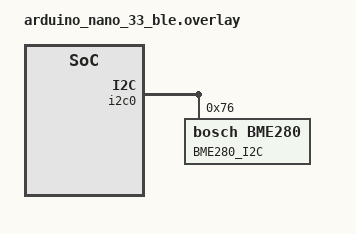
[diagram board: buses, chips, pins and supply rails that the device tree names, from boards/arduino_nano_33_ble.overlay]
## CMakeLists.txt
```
# SPDX-License-Identifier: Apache-2.0

cmake_minimum_required(VERSION 3.13.1)
set(CMAKE_EXPORT_COMPILE_COMMANDS ON)
find_package(Zephyr REQUIRED HINTS $ENV{ZEPHYR_BASE})
project(ble-weatherstation)

set(CMAKE_C_FLAGS "${CMAKE_C_FLAGS} -Wall -Wextra")

target_sources(app PRIVATE src/main.c src/sensor.c src/mesh.c src/attention.c)
```

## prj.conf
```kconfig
CONFIG_BOARD_ARDUINO_NANO_33_BLE_EN_USB_CONSOLE=n
CONFIG_BOARD_ARDUINO_NANO_33_BLE_INIT_SENSORS=n

CONFIG_I2C=y
CONFIG_SENSOR=y
CONFIG_BME280=y

CONFIG_GPIO=y

CONFIG_BT=y
CONFIG_BT_DEVICE_NAME="BLE Weatherstation"
CONFIG_BT_PERIPHERAL=y
CONFIG_BT_BROADCASTER=y
CONFIG_BT_OBSERVER=y

CONFIG_BT_MESH=y
CONFIG_BT_MESH_MODEL_EXTENSIONS=y
CONFIG_BT_MESH_RELAY=y
CONFIG_BT_MESH_PB_GATT=y
CONFIG_BT_MESH_PB_ADV=y
CONFIG_BT_MESH_GATT_PROXY=y

#CONFIG_BT_BUF_EVT_RX_COUNT=3
#CONFIG_BT_BUF_ACL_RX_COUNT=3
#CONFIG_BT_BUF_EVT_DISCARDABLE_COUNT=3
CONFIG_BT_RX_STACK_SIZE=4096
#CONFIG_BT_TX_STACK_SIZE=4096
#CONFIG_BT_CTLR_RX_BUFFERS=6
#CONFIG_BT_BUF_ACL_TX_COUNT=4
#CONFIG_BT_BUF_CMD_TX_COUNT=4
#
#CONFIG_BT_ATT_PREPARE_COUNT=2

CONFIG_BT_TINYCRYPT_ECC=y
CONFIG_BT_RX_STACK_SIZE=4096
CONFIG_BT_CTLR_DUP_FILTER_LEN=0
CONFIG_BT_MESH_LOOPBACK_BUFS=8
CONFIG_BT_MESH_ADV_BUF_COUNT=3
CONFIG_BT_MESH_SEG_BUFS=6
CONFIG_BT_MESH_SUBNET_COUNT=1
CONFIG_BT_MESH_APP_KEY_COUNT=1
CONFIG_BT_MESH_MODEL_GROUP_COUNT=1
CONFIG_BT_MESH_LABEL_COUNT=0

CONFIG_HWINFO=y

CONFIG_BT_DEBUG_LOG=y
CONFIG_UART_CONSOLE=y
CONFIG_UART_INTERRUPT_DRIVEN=y

CONFIG_LOG2_MODE_IMMEDIATE=y

CONFIG_MAIN_STACK_SIZE=4096
CONFIG_SYSTEM_WORKQUEUE_STACK_SIZE=1200
#
#CONFIG_BT_CTLR_DUP_FILTER_LEN=0
#CONFIG_BT_MESH_LOOPBACK_BUFS=8
#CONFIG_BT_RX_STACK_SIZE=1100

CONFIG_LOG_DEFAULT_LEVEL=4
CONFIG_LOG_MAX_LEVEL=4
CONFIG_BT_MESH_DEBUG=y
CONFIG_BT_MESH_DEBUG_ACCESS=y
CONFIG_BT_MESH_DEBUG_CFG=y
#CONFIG_BT_MESH_DEBUG_CRYPTO=y
CONFIG_BT_MESH_DEBUG_KEYS=y
CONFIG_BT_MESH_DEBUG_MODEL=y
CONFIG_BT_MESH_DEBUG_NET=y
#CONFIG_BT_MESH_DEBUG_PROV=y
#CONFIG_BT_MESH_DEBUG_TRANS=y
```

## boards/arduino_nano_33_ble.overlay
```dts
&i2c0 {
	status = "okay";
	bme280@76 {
		compatible = "bosch,bme280";
		reg = <0x76>;
		label = "BME280_I2C";
	};
};

/ {
        aliases {
            attention-led = &led0;
        };
};
```

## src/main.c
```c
#include <zephyr.h>
#include <stddef.h>
#include <sys/printk.h>

#include <device.h>
#include <devicetree.h>
#include <drivers/gpio.h>
#include <logging/log.h>
//#include <sys/util.h>
//#include <device.h>
//#include <devicetree.h>
//#include <drivers/sensor.h>
#include <bluetooth/bluetooth.h>
//#include <bluetooth/hci.h>
//#include <bluetooth/uuid.h>
//#include <bluetooth/mesh.h>
#include "sensor.h"
#include "mesh.h"

LOG_MODULE_REGISTER(ble_ws);

void main(void)
{
	const struct device *dev = DEVICE_DT_GET_ANY(bosch_bme280);

	if (!dev) {
		LOG_ERR("No BME280 device found");
		return;
	}

	if (!device_is_ready(dev)) {
		LOG_ERR("Device %s is not ready", dev->name);
		return;
	}

	ble_ws_sensor_init(dev);

	if (bt_enable(NULL)) {
		LOG_ERR("Could not enable bluetooth");
		return;
	}

	if (ble_ws_mesh_init()) {
		LOG_ERR("Could not init mesh");
		return;
	}

	struct ble_ws_sensor_values values = { 0 };
	while (1) {
		k_sleep(K_SECONDS(60));
		if (ble_ws_sensor_read(&values)) {
			LOG_ERR("Failed reading sensors");
		} else {
			LOG_INF("%d %d %d", values.temperature, values.humidity,
				values.pressure);
		}
	}
}
```

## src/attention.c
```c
#include <assert.h>
#include <devicetree.h>
#include <device.h>
#include <drivers/gpio.h>

#define ATTENTION_NODE DT_ALIAS(led0)

static const struct device *led;

int ble_ws_attention_init(void)
{
	led = device_get_binding(DT_GPIO_LABEL(ATTENTION_NODE, gpios));
	if (!led) {
		return 1;
	}

	return gpio_pin_configure(led, DT_GPIO_PIN(ATTENTION_NODE, gpios),
				  GPIO_OUTPUT_ACTIVE |
					  DT_GPIO_FLAGS(ATTENTION_NODE, gpios));
}

void ble_ws_attention_on(void)
{
	assert(led);
	gpio_pin_set(led, DT_GPIO_PIN(DT_ALIAS(attention_led), gpios), false);
}

void ble_ws_attention_off(void)
{
	assert(led);
	gpio_pin_set(led, DT_GPIO_PIN(DT_ALIAS(attention_led), gpios), true);
}
```

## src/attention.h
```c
#pragma once

int ble_ws_attention_init(void);

void ble_ws_attention_on(void);

void ble_ws_attention_off(void);
```

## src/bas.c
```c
#include <kernel.h>
#include <bluetooth/services/bas.h>

static void refresh_battery(struct k_timer *timer)
{
	uint8_t level = bt_bas_get_battery_level();
	if (!--level) {
		level = 100;
	}
	bt_bas_set_battery_level(level);
}

K_TIMER_DEFINE(battery_sim_timer, refresh_battery, NULL);

void ble_ws_bas_init(void)
{
	bt_bas_set_battery_level(100);
	k_timer_start(&battery_sim_timer, K_SECONDS(60), K_SECONDS(60));
}
```

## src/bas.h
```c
#pragma once

void ble_ws_bas_init(void);
```

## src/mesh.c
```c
#include <bluetooth/uuid.h>
#include <drivers/hwinfo.h>
#include <bluetooth/bluetooth.h>
#include "mesh.h"
#include <logging/log.h>
#include "sensor.h"
#include "attention.h"
#include <assert.h>

LOG_MODULE_DECLARE(ble_ws);

#define OP_VENDOR_READ_SENSOR (BT_MESH_MODEL_OP_3(0x00, BT_COMP_ID_LF))
#define OP_VENDOR_SENSORDATA (BT_MESH_MODEL_OP_3(0x01, BT_COMP_ID_LF))
#define MOD_LF (0x0000)

struct addr_u16 {
	// 0x + addr + \0
	char ___addr[2 + 4 + 1];
};

static struct addr_u16 addr_u16_format(uint16_t addr)
{
	// FIXME: zephyr probably has some macro for this but I can't find it
#if __BYTE_ORDER__ == __ORDER_LITTLE_ENDIAN__
	addr = (addr << 8) | ((addr >> 8) & 0xff);
#endif
	struct addr_u16 ret;
	char *s = (char *)&ret;
	s[0] = '0';
	s[1] = 'x';
	const size_t nbytes =
		bin2hex((char *)&addr, sizeof(uint16_t), s + 2, 4 + 1);
	assert(nbytes);
	// FIXME: clang is being stupid
	(void)nbytes;

	return ret;
}

#define ADDR_U16_FORMAT(ident, addr)                                           \
	struct addr_u16 ident = addr_u16_format(addr)

static void attention_on(struct bt_mesh_model *mod)
{
	(void)mod;
	ble_ws_attention_on();
}

static void attention_off(struct bt_mesh_model *mod)
{
	(void)mod;
	ble_ws_attention_off();
}

static const struct bt_mesh_health_srv_cb health_cb = {
	.attn_on = attention_on,
	.attn_off = attention_off,
};

BT_MESH_HEALTH_PUB_DEFINE(health_pub, 1);

static struct bt_mesh_health_srv health_srv = {
	.cb = &health_cb,
};

// supported bt mesh models
static struct bt_mesh_model root_models[] = {
	BT_MESH_MODEL_CFG_SRV,
	BT_MESH_MODEL_HEALTH_SRV(&health_srv, &health_pub),
};

static const struct bt_mesh_model_op vnd_ops[] = {
	{ .opcode = OP_VENDOR_READ_SENSOR,
	  .min_len = 0,
	  .func = ble_ws_vnd_read_sensor },
	BT_MESH_MODEL_OP_END,
};

static struct bt_mesh_model vnd_models[] = {
	BT_MESH_MODEL_VND(BT_COMP_ID_LF, MOD_LF, vnd_ops, NULL, NULL),
};

// extra supported models
static struct bt_mesh_elem elements[] = {
	BT_MESH_ELEM(0, root_models, vnd_models),
};

static const struct bt_mesh_comp comp = {
	.cid = 0,
	.elem = elements,
	.elem_count = ARRAY_SIZE(elements),
};

static void prov_complete(uint16_t idx, uint16_t addr)
{
	(void)idx;
	ADDR_U16_FORMAT(s, addr);
	LOG_INF("Provisioned with addr %s", (char *)&s);
}

static void prov_reset()
{
	bt_mesh_prov_enable(BT_MESH_PROV_ADV | BT_MESH_PROV_GATT);
}

static uint8_t dev_uuid[16];

static const struct bt_mesh_prov prov = {
	.uuid = dev_uuid,
	.output_size = 4,
	// out of bounds provisioner key on device
	.output_actions = BT_MESH_PROV_OOB_ON_DEV,
	.complete = prov_complete,
	.reset = prov_reset,
};

void ble_ws_vnd_read_sensor(struct bt_mesh_model *model,
			    struct bt_mesh_msg_ctx *ctx,
			    struct net_buf_simple *payload_buf)
{
	(void)payload_buf;
	(void)model;

	LOG_INF("Got sensor read request");

	struct ble_ws_sensor_values values = { 0 };
	if (ble_ws_sensor_read(&values)) {
		LOG_ERR("Reading sensor values failed");
		return;
	}

	BT_MESH_MODEL_BUF_DEFINE(rbuf, OP_VENDOR_SENSORDATA, 2 + 2 + 4);

	bt_mesh_model_msg_init(&rbuf, OP_VENDOR_SENSORDATA);

	net_buf_simple_add_le16(&rbuf, values.temperature);
	net_buf_simple_add_le16(&rbuf, values.humidity);
	net_buf_simple_add_le32(&rbuf, values.pressure);

	ADDR_U16_FORMAT(s, ctx->addr);
	LOG_INF("Sending response to %s", (char *)&s);

	bt_mesh_model_send(&vnd_models[0], ctx, &rbuf, NULL, NULL);
}

int ble_ws_mesh_init(void)
{
	int ret = hwinfo_get_device_id(dev_uuid, sizeof(dev_uuid));
	if (ret == -ENOTSUP) {
		LOG_ERR("hwinfo device id not supported on this device");
		return ret;
	} else if (ret < 0) {
		LOG_ERR("hwinfo device id driver error");
		return ret;
	}

	if ((ret = ble_ws_attention_init())) {
		LOG_ERR("Failed to init attention led");
		return ret;
	}

	ret = bt_mesh_init(&prov, &comp);
	if (ret) {
		LOG_ERR("bt_mesh_init failed %d", ret);
		return ret;
	}

	prov_reset();

	return ret;
}
```

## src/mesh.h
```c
#pragma once

#include <bluetooth/mesh.h>

int ble_ws_mesh_init(void);

void ble_ws_vnd_read_sensor(struct bt_mesh_model *model,
			    struct bt_mesh_msg_ctx *ctx,
			    struct net_buf_simple *payload_buf);
```

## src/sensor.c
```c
#include "sensor.h"
#include <assert.h>
#include <string.h>
#include <sys/mutex.h>
#include <logging/log.h>

LOG_MODULE_DECLARE(ble_ws);

K_MUTEX_DEFINE(sensor_mutex);

K_TIMER_DEFINE(sensor_read_timer, NULL, NULL);

static bool initial_read = true;

static struct ble_ws_sensor_values cached_values;

static const struct device *device;

void ble_ws_sensor_init(const struct device *dev)
{
	device = dev;
}

int ble_ws_sensor_read(struct ble_ws_sensor_values *values)
{
	assert(device);
	k_mutex_lock(&sensor_mutex, K_FOREVER);

	int ret = 0;
	if (initial_read || k_timer_status_get(&sensor_read_timer) > 0) {
		LOG_INF("Sensor read triggered");
		initial_read = false;

		ret = sensor_sample_fetch(device);
		if (ret) {
			goto err;
		}

		struct sensor_value buf;
		sensor_channel_get(device, SENSOR_CHAN_AMBIENT_TEMP, &buf);
		cached_values.temperature = (int16_t)buf.val1 * 100;
		cached_values.temperature += buf.val2 / 10000;

		sensor_channel_get(device, SENSOR_CHAN_HUMIDITY, &buf);
		cached_values.humidity = (uint16_t)buf.val1 * 100;
		cached_values.humidity += (uint16_t)(buf.val2 / 10000);

		sensor_channel_get(device, SENSOR_CHAN_PRESS, &buf);
		// FIXME: wrong
		cached_values.pressure = ((uint32_t)buf.val1) * 1000000;
		cached_values.pressure += (uint32_t)buf.val2;

		k_timer_start(&sensor_read_timer, K_SECONDS(30), K_MSEC(0));
	}
	memcpy(values, &cached_values, sizeof(struct ble_ws_sensor_values));

err:
	k_mutex_unlock(&sensor_mutex);
	return ret;
}
```

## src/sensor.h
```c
#pragma once

#include <stdint.h>
#include <device.h>
#include <devicetree.h>
#include <drivers/sensor.h>

struct ble_ws_sensor_values {
	int16_t temperature;
	uint16_t humidity;
	uint32_t pressure;
} __attribute__((__packed__));

void ble_ws_sensor_init(const struct device *dev);

int ble_ws_sensor_read(struct ble_ws_sensor_values *values);
```
